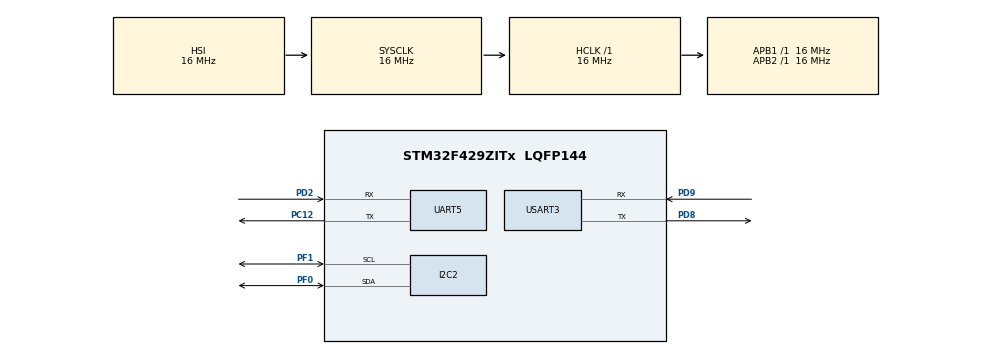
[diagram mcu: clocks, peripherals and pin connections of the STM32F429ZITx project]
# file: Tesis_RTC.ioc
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Mcu.Family=STM32F4
Mcu.Name=STM32F429ZITx
Mcu.Package=LQFP144
NVIC.PriorityGroup=NVIC_PRIORITYGROUP_4
NVIC.UART5_IRQn=true\:0\:0\:false\:false\:true\:true\:true\:true
PC12.Mode=Asynchronous
PC12.Signal=UART5_TX
PD2.GPIO_PuPd=GPIO_PULLUP
PD2.Mode=Asynchronous
PD2.Signal=UART5_RX
PD8.Mode=Asynchronous
PD8.Signal=USART3_TX
PD9.Mode=Asynchronous
PD9.Signal=USART3_RX
PF0.Mode=I2C
PF0.Signal=I2C2_SDA
PF1.Mode=I2C
PF1.Signal=I2C2_SCL
ProjectManager.HeapSize=0x200
ProjectManager.StackSize=0x400
ProjectManager.TargetToolchain=STM32CubeIDE
RCC.AHBFreq_Value=16000000
RCC.APB1Freq_Value=16000000
RCC.APB2Freq_Value=16000000
RCC.CortexFreq_Value=16000000
RCC.HSE_VALUE=25000000
RCC.HSI_VALUE=16000000
RCC.LSE_VALUE=32768
RCC.SYSCLKFreq_VALUE=16000000
RCC.VCOOutputFreq_Value=192000000
UART5.VirtualMode=Asynchronous
USART3.VirtualMode=VM_ASYNC
VP_RTC_VS_RTC_Activate.Mode=RTC_Enabled
VP_RTC_VS_RTC_Calendar.Mode=RTC_Calendar
board=custom

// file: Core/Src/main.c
/* USER CODE BEGIN Header */
/**
 ******************************************************************************
 * @file           : main.c
 * @brief          : Main program body
 ******************************************************************************
 * @attention
 *
 * Copyright (c) 2024 STMicroelectronics.
 * All rights reserved.
 *
 * This software is licensed under terms that can be found in the LICENSE file
 * in the root directory of this software component.
 * If no LICENSE file comes with this software, it is provided AS-IS.
 *
 ******************************************************************************
 */
/* USER CODE END Header */
#include "main.h"
#include "i2c.h"
#include "rtc.h"
#include "usart.h"
#include "gpio.h"

/* USER CODE BEGIN Includes */
#include <stdio.h>  // Añade esto para sprintf
#include <string.h> // Añade esto para strlen
#include "sps30.h"
#include "uart.h"
#include "ds1307_for_stm32_hal.h"
/* USER CODE END Includes */

/* USER CODE BEGIN PV */

// I2C_HandleTypeDef hi2c2;

// UART_HandleTypeDef huart1;

//	struct sps30_measurement m;
//	char serial[SPS30_MAX_SERIAL_LEN];
//	const uint8_t AUTO_CLEAN_DAYS = 4;
//	    int16_t ret;

/* USER CODE END PV */

void SystemClock_Config(void);

int main(void) {

    /* MCU Configuration--------------------------------------------------------*/

    /* Reset of all peripherals, Initializes the Flash interface and the Systick. */
    HAL_Init();

    /* USER CODE BEGIN Init */

    // SPS30_Init(&huart5);

    /* USER CODE END Init */

    /* Configure the system clock */
    SystemClock_Config();

    /* Initialize all configured peripherals */
    MX_GPIO_Init();
    MX_RTC_Init();
    MX_UART5_Init();
    MX_USART3_UART_Init();
    MX_I2C2_Init();
    /* USER CODE BEGIN 2 */

    //	uint32_t counter = 0; // Variable del contador
    //	char buffer[50]; // Buffer para almacenar el mensaje a enviar
    /* mensaje con los parametros de configuracion de la UART */
    static uint8_t * message =
        (uint8_t *)"\n\n"
                   "-----------------------------------------------------------\n"
                   "*** UART port initialization successful !!! ***\n"
                   "-----------------------------------------------------------\n";

    HAL_UART_Transmit(&huart3, (uint8_t *)message, strlen((char *)message), HAL_MAX_DELAY);

    uart_print("\n*********************************************\n");

    /* Lookup table for the days of week. */
    const char * DAYS_OF_WEEK[7] = {"Sunday",   "Monday", "Tuesday", "Wednesday",
                                    "Thursday", "Friday", "Saturday"};
    /* Start DS1307 timing. Pass user I2C handle pointer to function. */
    DS1307_Init(&hi2c2);
    /* To test leap year correction. */

    /*
    DS1307_SetTimeZone(-3, 00);
    DS1307_SetDate(21);
    DS1307_SetMonth(3);
    DS1307_SetYear(2024);
    DS1307_SetDayOfWeek(4);
    DS1307_SetHour(01);
    DS1307_SetMinute(18);
    DS1307_SetSecond(30);
    */

    /* USER CODE END 2 */

    /* Infinite loop */
    /* USER CODE BEGIN WHILE */
    while (1) {

        uint8_t date = DS1307_GetDate();
        uint8_t month = DS1307_GetMonth();
        uint16_t year = DS1307_GetYear();
        uint8_t dow = DS1307_GetDayOfWeek();
        uint8_t hour = DS1307_GetHour();
        uint8_t minute = DS1307_GetMinute();
        uint8_t second = DS1307_GetSecond();
        int8_t zone_hr = DS1307_GetTimeZoneHour();
        uint8_t zone_min = DS1307_GetTimeZoneMin();
        char buffer[100] = {0};
        sprintf(buffer, "ISO8601 FORMAT: %04d-%02d-%02dT%02d:%02d:%02d%+03d:%02d  %s\n", year,
                month, date, hour, minute, second, zone_hr, zone_min, DAYS_OF_WEEK[dow]);
        /* May show warning below. Ignore and proceed. */
        uart_print(buffer);
        HAL_Delay(5000);

        /* USER CODE END WHILE */

        /* USER CODE BEGIN 3 */
        // Enviar mensaje a través de UART
        // uart_print(buffer);
        uart_print("\n*********************************************\n");
    }
    /* USER CODE END 3 */
}

void SystemClock_Config(void) {
    RCC_OscInitTypeDef RCC_OscInitStruct = {0};
    RCC_ClkInitTypeDef RCC_ClkInitStruct = {0};

    /** Configure the main internal regulator output voltage
     */
    __HAL_RCC_PWR_CLK_ENABLE();
    __HAL_PWR_VOLTAGESCALING_CONFIG(PWR_REGULATOR_VOLTAGE_SCALE3);

    /** Initializes the RCC Oscillators according to the specified parameters
     * in the RCC_OscInitTypeDef structure.
     */
    RCC_OscInitStruct.OscillatorType = RCC_OSCILLATORTYPE_HSI | RCC_OSCILLATORTYPE_LSI;
    RCC_OscInitStruct.HSIState = RCC_HSI_ON;
    RCC_OscInitStruct.HSICalibrationValue = RCC_HSICALIBRATION_DEFAULT;
    RCC_OscInitStruct.LSIState = RCC_LSI_ON;
    RCC_OscInitStruct.PLL.PLLState = RCC_PLL_NONE;
    if (HAL_RCC_OscConfig(&RCC_OscInitStruct) != HAL_OK) {
        Error_Handler();
    }

    /** Initializes the CPU, AHB and APB buses clocks
     */
    RCC_ClkInitStruct.ClockType =
        RCC_CLOCKTYPE_HCLK | RCC_CLOCKTYPE_SYSCLK | RCC_CLOCKTYPE_PCLK1 | RCC_CLOCKTYPE_PCLK2;
    RCC_ClkInitStruct.SYSCLKSource = RCC_SYSCLKSOURCE_HSI;
    RCC_ClkInitStruct.AHBCLKDivider = RCC_SYSCLK_DIV1;
    RCC_ClkInitStruct.APB1CLKDivider = RCC_HCLK_DIV1;
    RCC_ClkInitStruct.APB2CLKDivider = RCC_HCLK_DIV1;

    if (HAL_RCC_ClockConfig(&RCC_ClkInitStruct, FLASH_LATENCY_0) != HAL_OK) {
        Error_Handler();
    }
}

void Error_Handler(void) {
    __disable_irq();
    while (1) {
    }
}
